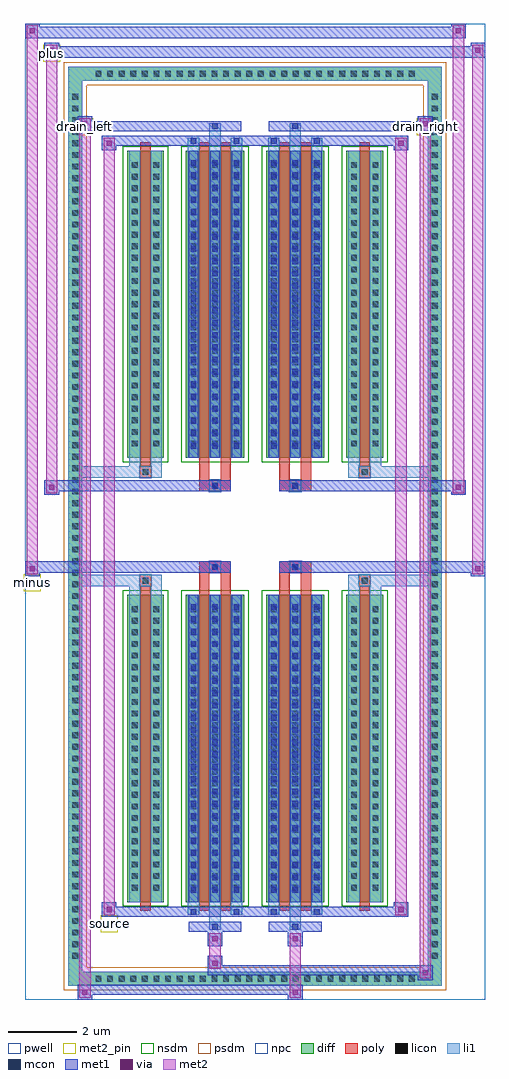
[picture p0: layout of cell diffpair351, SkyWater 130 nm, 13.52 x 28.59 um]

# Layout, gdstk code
import gdstk
lib = gdstk.Library(unit=1e-6, precision=5e-09)
def R(c, l, rs):  # rectangles x0, y0, x1, y1
    for r in rs: c.add(gdstk.rectangle(r[:2], r[2:], *l))
def A(c, l, x, y, w, h, nx, ny, dx, dy):  # array of equal rectangles
    R(c, l, [(x+i*dx, y+j*dy, x+i*dx+w, y+j*dy+h) for i in range(nx) for j in range(ny)])
def P(c, l, *ps):  # polygons
    for p in ps: c.add(gdstk.Polygon(p, *l))
pwell = (64, 44)
diff = (65, 20)
poly = (66, 20)
licon = (66, 44)
li1 = (67, 20)
mcon = (67, 44)
met1 = (68, 20)
via = (68, 44)
met2_pin = (69, 16)
met2 = (69, 20)
nsdm = (93, 44)
psdm = (94, 20)
npc = (95, 20)

diffpair351 = lib.new_cell('diffpair351')
R(diffpair351, pwell, [(-6.74,-13.86,6.74,14.73), (-4.06,-12.05,-0.01,-0.825), (0.01,-12.05,4.06,-0.825), (-4.06,0.825,-0.01,12.05), (0.01,0.825,4.06,12.05)])
A(diffpair351, diff, -4.795, -13.46, 0.41, 0.41, 28, 2, 0.34, 26.51)
A(diffpair351, diff, -5.47, -12.785, 0.41, 0.41, 1, 75, 0, 0.34)
A(diffpair351, diff, 5.06, -12.785, 0.41, 0.41, 1, 75, 0, 0.34)
R(diffpair351, diff, [(-4.795,-13.46,4.795,-13.05), (-5.47,-12.785,-5.06,12.785), (5.06,-12.785,5.47,12.785), (-3.75,-11.005,-2.67,-2.005), (-2.03,-11.005,-0.32,-2.005), (0.32,-11.005,2.03,-2.005), (2.67,-11.005,3.75,-2.005), (-3.75,2.005,-2.67,11.005), (-2.03,2.005,-0.32,11.005), (0.32,2.005,2.03,11.005), (2.67,2.005,3.75,11.005), (-4.795,13.05,4.795,13.46)])
P(diffpair351, diff, [(5.47,13.46),(-5.47,13.46),(-5.47,-13.05),(-5.06,-13.05),(-5.06,13.05),(5.06,13.05),(5.06,-13.05),(-5.06,-13.05),(-5.47,-13.05),(-5.47,-13.46),(5.47,-13.46)])
R(diffpair351, poly, [(-3.36,-11.255,-3.06,-1.755), (-1.64,-11.255,-1.34,-1.755), (-1.01,-11.255,-0.71,-1.755), (0.71,-11.255,1.01,-1.755), (1.34,-11.255,1.64,-1.755), (3.06,-11.255,3.36,-1.755), (-3.375,-1.755,-3.045,-1.425), (-3.375,-1.755,-3.045,-1.425), (-1.64,-1.755,-1.34,-1.355), (-1.01,-1.755,-0.71,-1.355), (0.71,-1.755,1.01,-1.355), (1.34,-1.755,1.64,-1.355), (3.045,-1.755,3.375,-1.425), (3.045,-1.755,3.375,-1.425), (-1.64,-1.355,-0.71,-1.025), (-1.34,-1.355,-1.01,-1.025), (0.71,-1.355,1.64,-1.025), (1.01,-1.355,1.34,-1.025), (-1.64,1.025,-0.71,1.355), (-1.34,1.025,-1.01,1.355), (0.71,1.025,1.64,1.355), (1.01,1.025,1.34,1.355), (-1.64,1.355,-1.34,1.755), (-1.01,1.355,-0.71,1.755), (0.71,1.355,1.01,1.755), (1.34,1.355,1.64,1.755), (-3.375,1.425,-3.045,1.755), (-3.375,1.425,-3.045,1.755), (3.045,1.425,3.375,1.755), (3.045,1.425,3.375,1.755), (-3.36,1.755,-3.06,11.255), (-1.64,1.755,-1.34,11.255), (-1.01,1.755,-0.71,11.255), (0.71,1.755,1.01,11.255), (1.34,1.755,1.64,11.255), (3.06,1.755,3.36,11.255)])
A(diffpair351, licon, -4.675, -13.34, 0.17, 0.17, 28, 2, 0.34, 26.51)
A(diffpair351, licon, -5.35, -12.665, 0.17, 0.17, 1, 75, 0, 0.34)
A(diffpair351, licon, 5.18, -12.665, 0.17, 0.17, 1, 75, 0, 0.34)
A(diffpair351, licon, -3.61, -10.67, 0.17, 0.17, 1, 25, 0, 0.34)
A(diffpair351, licon, -2.98, -10.67, 0.17, 0.17, 1, 25, 0, 0.34)
A(diffpair351, licon, -1.89, -10.67, 0.17, 0.17, 3, 25, 0.63, 0.34)
A(diffpair351, licon, 0.46, -10.67, 0.17, 0.17, 3, 25, 0.63, 0.34)
A(diffpair351, licon, 2.81, -10.67, 0.17, 0.17, 1, 25, 0, 0.34)
A(diffpair351, licon, 3.44, -10.67, 0.17, 0.17, 1, 25, 0, 0.34)
A(diffpair351, licon, -3.61, 2.34, 0.17, 0.17, 1, 25, 0, 0.34)
A(diffpair351, licon, -2.98, 2.34, 0.17, 0.17, 1, 25, 0, 0.34)
A(diffpair351, licon, -1.89, 2.34, 0.17, 0.17, 3, 25, 0.63, 0.34)
A(diffpair351, licon, 0.46, 2.34, 0.17, 0.17, 3, 25, 0.63, 0.34)
A(diffpair351, licon, 2.81, 2.34, 0.17, 0.17, 1, 25, 0, 0.34)
A(diffpair351, licon, 3.44, 2.34, 0.17, 0.17, 1, 25, 0, 0.34)
R(diffpair351, licon, [(-3.295,-1.675,-3.125,-1.505), (3.125,-1.675,3.295,-1.505), (-1.26,-1.275,-1.09,-1.105), (1.09,-1.275,1.26,-1.105), (-1.26,1.105,-1.09,1.275), (1.09,1.105,1.26,1.275), (-3.295,1.505,-3.125,1.675), (3.125,1.505,3.295,1.675)])
A(diffpair351, li1, -4.755, -13.42, 0.33, 0.33, 28, 2, 0.34, 26.51)
A(diffpair351, li1, -5.43, -12.745, 0.33, 0.33, 1, 75, 0, 0.34)
A(diffpair351, li1, 5.1, -12.745, 0.33, 0.33, 1, 75, 0, 0.34)
A(diffpair351, li1, -1.97, -11.005, 0.33, 9, 3, 2, 0.63, 13.01)
A(diffpair351, li1, 0.38, -11.005, 0.33, 9, 3, 2, 0.63, 13.01)
A(diffpair351, li1, -3.69, -10.75, 0.33, 0.33, 1, 25, 0, 0.34)
A(diffpair351, li1, -3.06, -10.75, 0.33, 0.33, 1, 25, 0, 0.34)
A(diffpair351, li1, -1.97, -10.75, 0.33, 0.33, 3, 25, 0.63, 0.34)
A(diffpair351, li1, 0.38, -10.75, 0.33, 0.33, 3, 25, 0.63, 0.34)
A(diffpair351, li1, 2.73, -10.75, 0.33, 0.33, 1, 25, 0, 0.34)
A(diffpair351, li1, 3.36, -10.75, 0.33, 0.33, 1, 25, 0, 0.34)
A(diffpair351, li1, -1.89, -10.73, 0.17, 0.17, 3, 24, 0.63, 0.36)
A(diffpair351, li1, -1.89, -10.73, 0.17, 8.45, 3, 2, 0.63, 13.01)
A(diffpair351, li1, 0.46, -10.73, 0.17, 0.17, 3, 24, 0.63, 0.36)
A(diffpair351, li1, 0.46, -10.73, 0.17, 8.45, 3, 2, 0.63, 13.01)
A(diffpair351, li1, -3.69, 2.26, 0.33, 0.33, 1, 25, 0, 0.34)
A(diffpair351, li1, -3.06, 2.26, 0.33, 0.33, 1, 25, 0, 0.34)
A(diffpair351, li1, -1.97, 2.26, 0.33, 0.33, 3, 25, 0.63, 0.34)
A(diffpair351, li1, 0.38, 2.26, 0.33, 0.33, 3, 25, 0.63, 0.34)
A(diffpair351, li1, 2.73, 2.26, 0.33, 0.33, 1, 25, 0, 0.34)
A(diffpair351, li1, 3.36, 2.26, 0.33, 0.33, 1, 25, 0, 0.34)
A(diffpair351, li1, -1.89, 2.28, 0.17, 0.17, 3, 24, 0.63, 0.36)
A(diffpair351, li1, 0.46, 2.28, 0.17, 0.17, 3, 24, 0.63, 0.36)
R(diffpair351, li1, [(-5.47,-13.46,-5.06,-13.05), (-5.47,-13.46,-5.06,-13.05), (-5.06,-13.46,5.06,-13.05), (5.06,-13.46,5.47,-13.05), (5.06,-13.46,5.47,-13.05), (-5.47,-13.05,-5.06,13.05), (5.06,-13.05,5.47,13.05), (-1.34,-11.81,-1.01,-11.005), (-1.26,-11.81,-1.09,-11.64), (1.01,-11.81,1.34,-11.005), (1.09,-11.81,1.26,-11.64), (-1.97,-11.38,-1.64,-11.005), (-1.89,-11.38,-1.72,-11.21), (-0.71,-11.38,-0.38,-11.005), (-0.63,-11.38,-0.46,-11.21), (0.38,-11.38,0.71,-11.005), (0.46,-11.38,0.63,-11.21), (1.64,-11.38,1.97,-11.005), (1.72,-11.38,1.89,-11.21), (-3.69,-11.005,-3.36,-2.005), (-3.06,-11.005,-2.73,-2.005), (2.73,-11.005,3.06,-2.005), (3.36,-11.005,3.69,-2.005), (-3.69,-2.005,-3.36,-1.425), (-3.06,-2.005,-2.73,-1.425), (2.73,-2.005,3.06,-1.425), (3.36,-2.005,3.69,-1.425), (-5.47,-1.755,-3.375,-1.425), (-3.69,-1.755,-3.375,-1.425), (-3.375,-1.755,-3.045,-1.425), (-3.045,-1.755,-2.73,-1.425), (2.73,-1.755,3.045,-1.425), (3.045,-1.755,3.375,-1.425), (3.045,-1.755,5.47,-1.425), (3.375,-1.755,3.69,-1.425), (-1.34,-1.355,-1.01,-1.025), (1.01,-1.355,1.34,-1.025), (-1.34,1.025,-1.01,1.355), (1.01,1.025,1.34,1.355), (-5.47,1.425,-3.375,1.755), (-3.69,1.425,-3.375,1.755), (-3.69,1.425,-3.36,2.005), (-3.375,1.425,-3.045,1.755), (-3.06,1.425,-2.73,2.005), (-3.045,1.425,-2.73,1.755), (2.73,1.425,3.045,1.755), (2.73,1.425,3.06,2.005), (3.045,1.425,3.375,1.755), (3.045,1.425,5.47,1.755), (3.36,1.425,3.69,2.005), (3.375,1.425,3.69,1.755), (-3.69,2.005,-3.36,11.005), (-3.06,2.005,-2.73,11.005), (2.73,2.005,3.06,11.005), (3.36,2.005,3.69,11.005), (-1.97,11.005,-1.64,11.38), (-1.34,11.005,-1.01,11.81), (-0.71,11.005,-0.38,11.38), (0.38,11.005,0.71,11.38), (1.01,11.005,1.34,11.81), (1.64,11.005,1.97,11.38), (-1.89,11.21,-1.72,11.38), (-0.63,11.21,-0.46,11.38), (0.46,11.21,0.63,11.38), (1.72,11.21,1.89,11.38), (-1.26,11.64,-1.09,11.81), (1.09,11.64,1.26,11.81), (-5.47,13.05,-5.06,13.46), (-5.47,13.05,-5.06,13.46), (-5.06,13.05,5.06,13.46), (5.06,13.05,5.47,13.46), (5.06,13.05,5.47,13.46)])
A(diffpair351, mcon, -1.89, -10.73, 0.17, 0.17, 3, 24, 0.63, 0.36)
A(diffpair351, mcon, 0.46, -10.73, 0.17, 0.17, 3, 24, 0.63, 0.36)
A(diffpair351, mcon, -1.89, 2.28, 0.17, 0.17, 3, 24, 0.63, 0.36)
A(diffpair351, mcon, 0.46, 2.28, 0.17, 0.17, 3, 24, 0.63, 0.36)
R(diffpair351, mcon, [(-1.26,-11.81,-1.09,-11.64), (1.09,-11.81,1.26,-11.64), (-1.89,-11.38,-1.72,-11.21), (-0.63,-11.38,-0.46,-11.21), (0.46,-11.38,0.63,-11.21), (1.72,-11.38,1.89,-11.21), (-1.26,-1.275,-1.09,-1.105), (1.09,-1.275,1.26,-1.105), (-1.26,1.105,-1.09,1.275), (1.09,1.105,1.26,1.275), (-1.89,11.21,-1.72,11.38), (-0.63,11.21,-0.46,11.38), (0.46,11.21,0.63,11.38), (1.72,11.21,1.89,11.38), (-1.26,11.64,-1.09,11.81), (1.09,11.64,1.26,11.81)])
A(diffpair351, met1, -1.95, -11.005, 0.29, 9, 3, 2, 0.63, 13.01)
A(diffpair351, met1, 0.4, -11.005, 0.29, 9, 3, 2, 0.63, 13.01)
A(diffpair351, met1, -1.95, -10.79, 0.29, 0.29, 3, 24, 0.63, 0.36)
A(diffpair351, met1, 0.4, -10.79, 0.29, 0.29, 3, 24, 0.63, 0.36)
A(diffpair351, met1, -1.95, 2.22, 0.29, 0.29, 3, 24, 0.63, 0.36)
A(diffpair351, met1, 0.4, 2.22, 0.29, 0.29, 3, 24, 0.63, 0.36)
R(diffpair351, met1, [(-5.2,-13.86,-4.77,-13.43), (0.96,-13.86,1.39,-13.43), (-5.2,-13.72,1.39,-13.43), (4.77,-13.29,5.2,-12.86), (-1.39,-13.15,5.2,-12.86), (-1.39,-13.01,-0.96,-12.58), (-1.39,-12.3,-0.96,-11.87), (0.96,-12.3,1.39,-11.87), (-1.95,-11.87,-0.4,-11.58), (-1.32,-11.87,-1.03,-11.58), (0.4,-11.87,1.95,-11.58), (1.03,-11.87,1.32,-11.58), (-4.49,-11.44,-4.06,-11.01), (-4.49,-11.44,-1.95,-11.15), (-1.95,-11.44,-1.66,-11.15), (-1.95,-11.44,-0.4,-11.15), (-0.69,-11.44,-0.4,-11.15), (-0.4,-11.44,0.4,-11.15), (0.4,-11.44,0.69,-11.15), (0.4,-11.44,1.95,-11.15), (1.66,-11.44,1.95,-11.15), (1.95,-11.44,4.49,-11.15), (4.06,-11.44,4.49,-11.01), (-6.74,-1.455,-6.31,-1.025), (6.31,-1.455,6.74,-1.025), (-6.74,-1.355,-0.71,-1.025), (-1.64,-1.355,-0.71,-1.025), (0.71,-1.355,1.64,-1.025), (0.71,-1.355,6.74,-1.025), (-1.32,-1.335,-1.03,-1.045), (1.03,-1.335,1.32,-1.045), (-6.17,0.925,-5.74,1.355), (5.74,0.925,6.17,1.355), (-6.17,1.025,-1.64,1.355), (-1.64,1.025,-0.71,1.355), (0.71,1.025,1.64,1.355), (1.64,1.025,6.17,1.355), (-1.32,1.045,-1.03,1.335), (1.03,1.045,1.32,1.335), (-4.49,11.01,-4.06,11.44), (4.06,11.01,4.49,11.44), (-4.49,11.15,-1.95,11.44), (-1.95,11.15,-1.66,11.44), (-1.95,11.15,-0.4,11.44), (-0.69,11.15,-0.4,11.44), (-0.4,11.15,0.4,11.44), (0.4,11.15,0.69,11.44), (0.4,11.15,1.95,11.44), (1.66,11.15,1.95,11.44), (1.95,11.15,4.49,11.44), (-5.2,11.58,-4.77,12.01), (-5.2,11.58,-1.95,11.87), (-1.95,11.58,-0.4,11.87), (-1.32,11.58,-1.03,11.87), (0.4,11.58,1.95,11.87), (1.03,11.58,1.32,11.87), (1.95,11.58,5.2,11.87), (4.77,11.58,5.2,12.01), (-6.17,13.73,-5.74,14.16), (-6.17,13.73,-4.06,14.06), (-4.06,13.73,4.06,14.06), (4.06,13.73,6.74,14.06), (6.31,13.73,6.74,14.16), (-6.74,14.3,-6.31,14.73), (-6.74,14.3,-4.06,14.63), (-4.06,14.3,4.06,14.63), (4.06,14.3,6.17,14.63), (5.74,14.3,6.17,14.73)])
R(diffpair351, via, [(-5.06,-13.72,-4.91,-13.57), (1.1,-13.72,1.25,-13.57), (4.91,-13.15,5.06,-13), (-1.25,-12.87,-1.1,-12.72), (-1.25,-12.16,-1.1,-12.01), (1.1,-12.16,1.25,-12.01), (-4.35,-11.3,-4.2,-11.15), (4.2,-11.3,4.35,-11.15), (-6.6,-1.315,-6.45,-1.165), (6.45,-1.315,6.6,-1.165), (-6.03,1.065,-5.88,1.215), (5.88,1.065,6.03,1.215), (-4.35,11.15,-4.2,11.3), (4.2,11.15,4.35,11.3), (-5.06,11.72,-4.91,11.87), (4.91,11.72,5.06,11.87), (-6.03,13.87,-5.88,14.02), (6.45,13.87,6.6,14.02), (-6.6,14.44,-6.45,14.59), (5.88,14.44,6.03,14.59)])
R(diffpair351, met2_pin, [(-4.525,-11.89,-4.025,-11.39), (-6.775,-1.905,-6.275,-1.405), (-5.235,11.46,-4.735,11.96), (4.735,11.46,5.235,11.96), (-6.205,13.61,-5.705,14.11)])
R(diffpair351, met2, [(-5.15,-13.81,-4.82,-13.48), (-5.15,-13.81,-4.82,11.96), (1.01,-13.81,1.34,-13.48), (1.01,-13.48,1.34,-12.25), (4.82,-13.24,5.15,-12.91), (4.82,-13.24,5.15,11.96), (-1.34,-12.96,-1.01,-12.63), (-1.34,-12.63,-1.01,-12.25), (-1.34,-12.25,-1.01,-11.92), (1.01,-12.25,1.34,-11.92), (-4.44,-11.39,-4.11,-11.06), (-4.44,-11.39,-4.11,11.39), (4.11,-11.39,4.44,-11.06), (4.11,-11.39,4.44,11.39), (-6.69,-1.405,-6.36,-1.075), (-6.69,-1.405,-6.36,14.68), (6.36,-1.405,6.69,-1.075), (6.36,-1.405,6.69,14.11), (-6.12,0.975,-5.79,1.305), (-6.12,0.975,-5.79,14.11), (5.79,0.975,6.12,1.305), (5.79,0.975,6.12,14.68), (-4.44,11.06,-4.11,11.39), (4.11,11.06,4.44,11.39), (-5.15,11.63,-4.82,11.96), (4.82,11.63,5.15,11.96), (-6.12,13.78,-5.79,14.11), (6.36,13.78,6.69,14.11), (-6.69,14.35,-6.36,14.68), (5.79,14.35,6.12,14.68)])
P(diffpair351, met2, [(6.69,-1.405),(6.69,-1.405),(6.69,-1.075),(6.69,-1.075)],
  [(6.69,13.78),(6.69,13.78),(6.69,14.11),(6.69,14.11)],
  [(-6.36,-1.405),(-6.36,-1.405),(-6.36,-1.075),(-6.36,-1.075)],
  [(-6.36,14.35),(-6.36,14.35),(-6.36,14.68),(-6.36,14.68)],
  [(6.12,0.975),(6.12,0.975),(6.12,1.305),(6.12,1.305)],
  [(6.12,14.35),(6.12,14.35),(6.12,14.68),(6.12,14.68)],
  [(-5.79,0.975),(-5.79,0.975),(-5.79,1.305),(-5.79,1.305)],
  [(-5.79,13.78),(-5.79,13.78),(-5.79,14.11),(-5.79,14.11)],
  [(-4.82,-13.81),(-4.82,-13.81),(-4.82,-13.48),(-4.82,-13.48)],
  [(-4.82,11.63),(-4.82,11.63),(-4.82,11.96),(-4.82,11.96)],
  [(5.15,-13.24),(5.15,-13.24),(5.15,-12.91),(5.15,-12.91)],
  [(5.15,11.63),(5.15,11.63),(5.15,11.96),(5.15,11.96)],
  [(-4.11,-11.39),(-4.11,-11.39),(-4.11,-11.06),(-4.11,-11.06)],
  [(-4.11,11.06),(-4.11,11.06),(-4.11,11.39),(-4.11,11.39)],
  [(4.44,-11.39),(4.44,-11.39),(4.44,-11.06),(4.44,-11.06)],
  [(4.44,11.06),(4.44,11.06),(4.44,11.39),(4.44,11.39)])
R(diffpair351, nsdm, [(-3.88,-11.135,-2.54,-1.875), (-2.16,-11.135,-0.19,-1.875), (0.19,-11.135,2.16,-1.875), (2.54,-11.135,3.88,-1.875), (-3.88,1.875,-2.54,11.135), (-2.16,1.875,-0.19,11.135), (0.19,1.875,2.16,11.135), (2.54,1.875,3.88,11.135)])
P(diffpair351, psdm, [(5.6,13.59),(-5.6,13.59),(-5.6,-12.92),(-4.93,-12.92),(-4.93,12.92),(4.93,12.92),(4.93,-12.92),(-4.93,-12.92),(-5.6,-12.92),(-5.6,-13.59),(5.6,-13.59)])
R(diffpair351, npc, [(-3.395,-1.775,-3.025,-1.405), (3.025,-1.775,3.395,-1.405), (-1.36,-1.375,-0.99,-1.005), (0.99,-1.375,1.36,-1.005), (-1.36,1.005,-0.99,1.375), (0.99,1.005,1.36,1.375), (-3.395,1.405,-3.025,1.775), (3.025,1.405,3.395,1.775)])
diffpair351.add(gdstk.Label('minus', (-6.525,-1.655), layer=69, texttype=5))
diffpair351.add(gdstk.Label('drain_right', (4.985,11.71), layer=69, texttype=5))
diffpair351.add(gdstk.Label('drain_left', (-4.985,11.71), layer=69, texttype=5))
diffpair351.add(gdstk.Label('source', (-4.275,-11.64), layer=69, texttype=5))
diffpair351.add(gdstk.Label('plus', (-5.955,13.86), layer=69, texttype=5))

lib.write_gds('diffpair351.gds')
